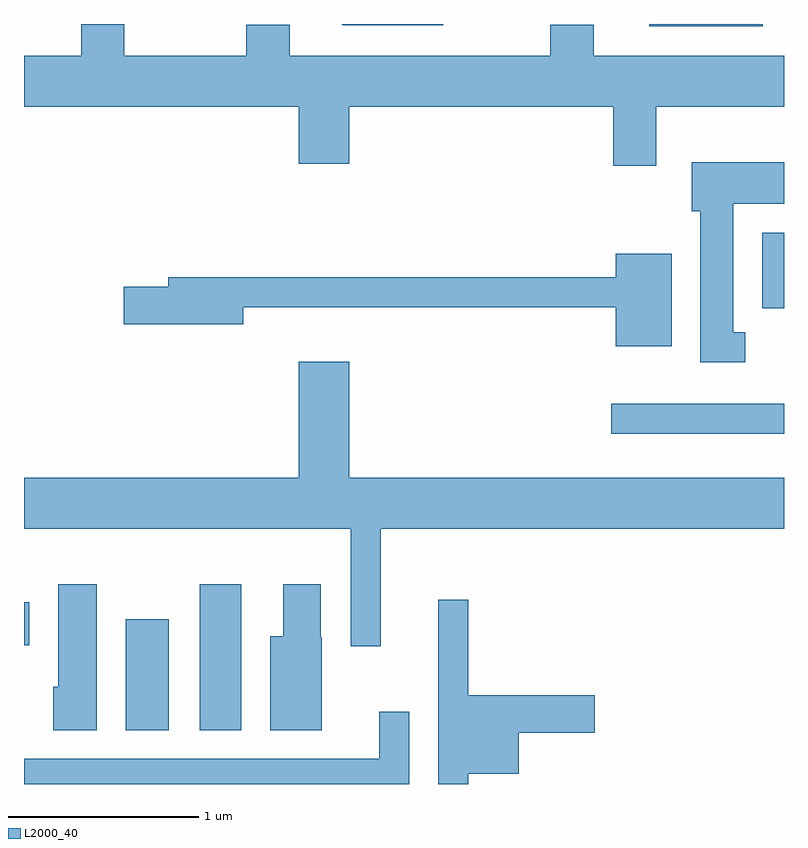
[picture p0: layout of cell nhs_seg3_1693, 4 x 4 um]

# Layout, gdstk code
import gdstk
lib = gdstk.Library(unit=1e-6, precision=1e-09)
def R(c, l, rs):  # rectangles x0, y0, x1, y1
    for r in rs: c.add(gdstk.rectangle(r[:2], r[2:], *l))
def P(c, l, *ps):  # polygons
    for p in ps: c.add(gdstk.Polygon(p, *l))
L2000_40 = (2000, 40)

nhs_seg3_1693 = lib.new_cell('nhs_seg3_1693')
R(nhs_seg3_1693, L2000_40, [(234.146,1238.176,234.374,1238.759), (234.536,1238.176,234.754,1238.944), (233.611,1238.621,233.639,1238.849), (236.703,1239.736,237.611,1239.894), (237.496,1240.396,237.611,1240.794), (236.901,1241.881,237.498,1241.892)])
P(nhs_seg3_1693, L2000_40, [(235.818,1241.892),(235.283,1241.892),(235.289,1241.886),(235.818,1241.886)],
  [(236.939,1241.456),(237.611,1241.456),(237.611,1241.724),(236.609,1241.724),(236.609,1241.889),(236.381,1241.889),(236.381,1241.724),(235.009,1241.724),(235.009,1241.889),(234.781,1241.889),(234.781,1241.724),(234.139,1241.724),(234.139,1241.892),(233.911,1241.892),(233.911,1241.724),(233.611,1241.724),(233.611,1241.456),(235.056,1241.456),(235.056,1241.156),(235.324,1241.156),(235.324,1241.456),(236.711,1241.456),(236.711,1241.146),(236.939,1241.146)],
  [(237.408,1240.269),(237.344,1240.269),(237.344,1240.946),(237.611,1240.946),(237.611,1241.164),(237.126,1241.164),(237.126,1240.906),(237.171,1240.906),(237.171,1240.111),(237.408,1240.111)],
  [(237.019,1240.684),(236.726,1240.684),(236.726,1240.559),(234.371,1240.559),(234.371,1240.509),(234.136,1240.509),(234.136,1240.311),(234.764,1240.311),(234.764,1240.401),(236.726,1240.401),(236.726,1240.196),(237.019,1240.196)],
  [(235.489,1239.236),(237.611,1239.236),(237.611,1239.504),(235.324,1239.504),(235.324,1240.114),(235.056,1240.114),(235.056,1239.504),(233.611,1239.504),(233.611,1239.236),(235.331,1239.236),(235.331,1238.618),(235.489,1238.618)],
  [(233.994,1238.944),(233.791,1238.944),(233.791,1238.404),(233.766,1238.404),(233.766,1238.176),(233.994,1238.176)],
  [(235.179,1238.665),(235.174,1238.665),(235.174,1238.944),(234.976,1238.944),(234.976,1238.669),(234.906,1238.669),(234.906,1238.176),(235.179,1238.176)],
  [(235.949,1237.946),(236.214,1237.946),(236.214,1238.161),(236.614,1238.161),(236.614,1238.359),(235.949,1238.359),(235.949,1238.863),(235.791,1238.863),(235.791,1237.892),(235.949,1237.892)],
  [(235.639,1238.273),(235.481,1238.273),(235.481,1238.024),(233.611,1238.024),(233.611,1237.892),(235.639,1237.892)])

lib.write_gds('nhs_seg3_1693.gds')
